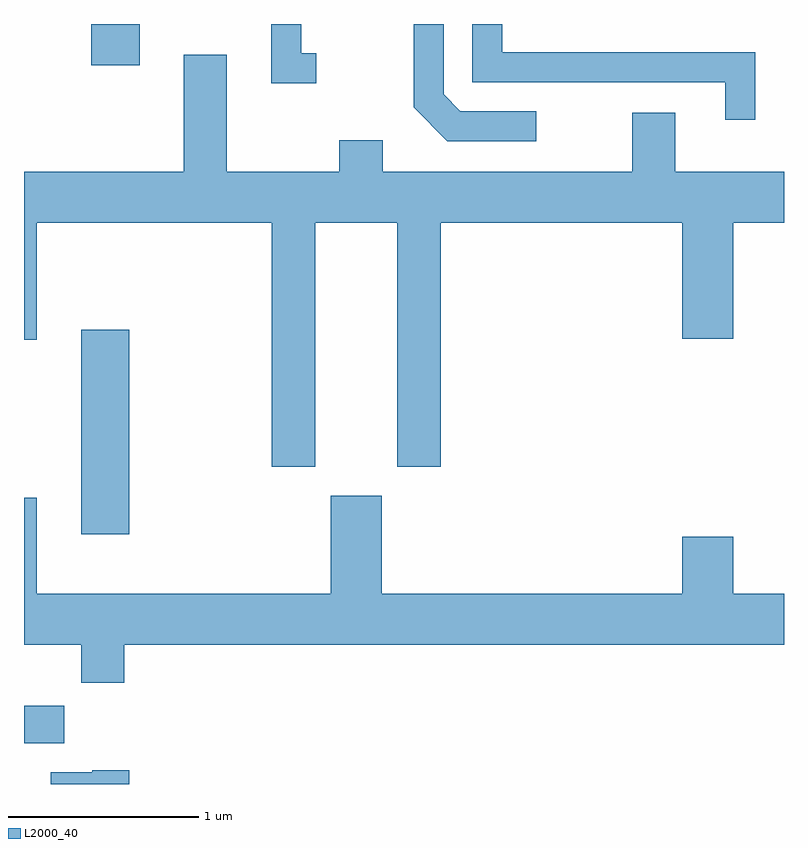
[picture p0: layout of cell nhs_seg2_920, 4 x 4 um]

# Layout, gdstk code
import gdstk
lib = gdstk.Library(unit=1e-6, precision=1e-09)
def R(c, l, rs):  # rectangles x0, y0, x1, y1
    for r in rs: c.add(gdstk.rectangle(r[:2], r[2:], *l))
def P(c, l, *ps):  # polygons
    for p in ps: c.add(gdstk.Polygon(p, *l))
L2000_40 = (2000, 40)

nhs_seg2_920 = lib.new_cell('nhs_seg2_920')
R(nhs_seg2_920, L2000_40, [(211.611,1050.016,211.824,1050.214), (211.911,1051.116,212.164,1052.194), (211.966,1053.586,212.219,1053.802)])
P(nhs_seg2_920, L2000_40, [(213.148,1053.649),(213.069,1053.649),(213.069,1053.802),(212.911,1053.802),(212.911,1053.491),(213.148,1053.491)],
  [(215.459,1053.654),(214.129,1053.654),(214.129,1053.802),(213.971,1053.802),(213.971,1053.496),(215.301,1053.496),(215.301,1053.298),(215.459,1053.298)],
  [(214.308,1053.344),(213.907,1053.344),(213.819,1053.432),(213.819,1053.802),(213.661,1053.802),(213.661,1053.364),(213.839,1053.186),(214.308,1053.186)],
  [(213.144,1052.756),(213.576,1052.756),(213.576,1051.471),(213.804,1051.471),(213.804,1052.756),(215.076,1052.756),(215.076,1052.146),(215.344,1052.146),(215.344,1052.756),(215.611,1052.756),(215.611,1053.024),(215.039,1053.024),(215.039,1053.334),(214.811,1053.334),(214.811,1053.024),(213.499,1053.024),(213.499,1053.189),(213.271,1053.189),(213.271,1053.024),(212.679,1053.024),(212.679,1053.639),(212.451,1053.639),(212.451,1053.024),(211.611,1053.024),(211.611,1052.141),(211.679,1052.141),(211.679,1052.756),(212.916,1052.756),(212.916,1051.471),(213.144,1051.471)],
  [(212.139,1050.536),(215.611,1050.536),(215.611,1050.804),(215.344,1050.804),(215.344,1051.104),(215.076,1051.104),(215.076,1050.804),(213.494,1050.804),(213.494,1051.319),(213.226,1051.319),(213.226,1050.804),(211.679,1050.804),(211.679,1051.309),(211.611,1051.309),(211.611,1050.536),(211.911,1050.536),(211.911,1050.336),(212.139,1050.336)],
  [(212.164,1049.874),(211.97,1049.874),(211.97,1049.864),(211.751,1049.864),(211.751,1049.802),(212.164,1049.802)])

lib.write_gds('nhs_seg2_920.gds')
